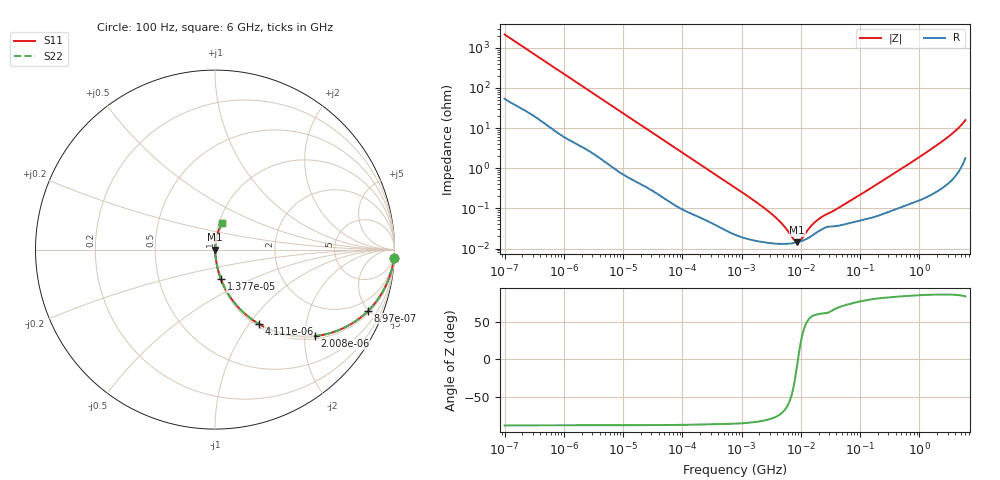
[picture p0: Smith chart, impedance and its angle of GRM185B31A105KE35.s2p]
!Murata Part Number: GRM185B31A105KE35
!These Parameters are Measured in Series Mode Connection
!Data Generated on Mar 30, 2021
!  o--ll--o
!Port1  Port2
!  o------o
!Operation Temp=25[degC], DC Bias Voltage=0[V]
!Freq. Start=100[Hz] Stop=6[GHz] 401[Steps]
# Hz S RI R 50
!Freq.(Hz) S11(Real) S11(Imag) S21(Real) S21(Imag) S12(Real) S12(Imag) S22(Real) S22(Imag)
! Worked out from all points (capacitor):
!   401 points, 100 Hz to 6 GHz, reference 50 ohm
!   read as one part in series: C = 738 nF near 109 Hz
!   lowest |Z| = 14.4 mohm at 8.692 MHz (marker M1)
!   series resonance near 8.977 MHz, so ESL is about 430 pH
!   S11 on the Smith chart (normalised r, x): 100 Hz: 2, -43; 897 Hz: 1.13, -4.97; 2.008 kHz: 1.07, -2.25; 4.111 kHz: 1.04, -1.12; 13.77 kHz: 1.01, -0.34; 6 GHz: 1.04, +0.31
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100  0.9967 -0.0463  0.00332 0.0463  0.00332 0.0463  0.9967 -0.0463
335  0.9732 -0.1479  0.0268 0.1479  0.0268 0.1479  0.9732 -0.1479
897  0.8542 -0.3398  0.1458 0.3398  0.1458 0.3398  0.8542 -0.3398
1342  0.7307 -0.4298  0.2693 0.4298  0.2693 0.4298  0.7307 -0.4298
2008  0.557 -0.4818  0.443 0.4818  0.443 0.4818  0.557 -0.4818
4111  0.2448 -0.4145  0.7552 0.4145  0.7552 0.4145  0.2448 -0.4145
7036  0.1052 -0.2922  0.8948 0.2922  0.8948 0.2922  0.1052 -0.2922
13772  0.033 -0.1637  0.967 0.1637  0.967 0.1637  0.033 -0.1637
40335  0.00567 -0.0591  0.9943 0.0591  0.9943 0.0591  0.00567 -0.0591
774597  0.000231 -0.0033  0.9998 0.0033  0.9998 0.0033  0.000231 -0.0033
3394479  0.000134 -0.000668  0.9999 0.000668  0.9999 0.000668  0.000134 -0.000668
5079039  0.00013 -0.000356  0.9999 0.000356  0.9999 0.000356  0.00013 -0.000356
7599586  0.000137 -9.89e-05  0.9999 9.89e-05  0.9999 9.89e-05  0.000137 -9.89e-05
8692127  0.000143 -1.89e-05  0.9999 1.89e-05  0.9999 1.89e-05  0.000143 -1.89e-05
9941735  0.000151 6.04e-05  0.9998 -6.04e-05  0.9998 -6.04e-05  0.000151 6.04e-05
1.555665e7  0.000211 0.000329  0.9998 -0.000329  0.9998 -0.000329  0.000211 0.000329
2.327686e7  0.000307 0.00055  0.9997 -0.00055  0.9997 -0.00055  0.000307 0.00055
3.983537e7  0.000363 0.000884  0.9996 -0.000884  0.9996 -0.000884  0.000363 0.000884
3.124326e8  0.000868 0.0062  0.9991 -0.0062  0.9991 -0.0062  0.000868 0.0062
2.34314e9  0.00503 0.0444  0.995 -0.0444  0.995 -0.0444  0.00503 0.0444
3.8344e9  0.0118 0.0774  0.9882 -0.0774  0.9882 -0.0774  0.0118 0.0774
6e9  0.0405 0.1484  0.9595 -0.1484  0.9595 -0.1484  0.0405 0.1484
